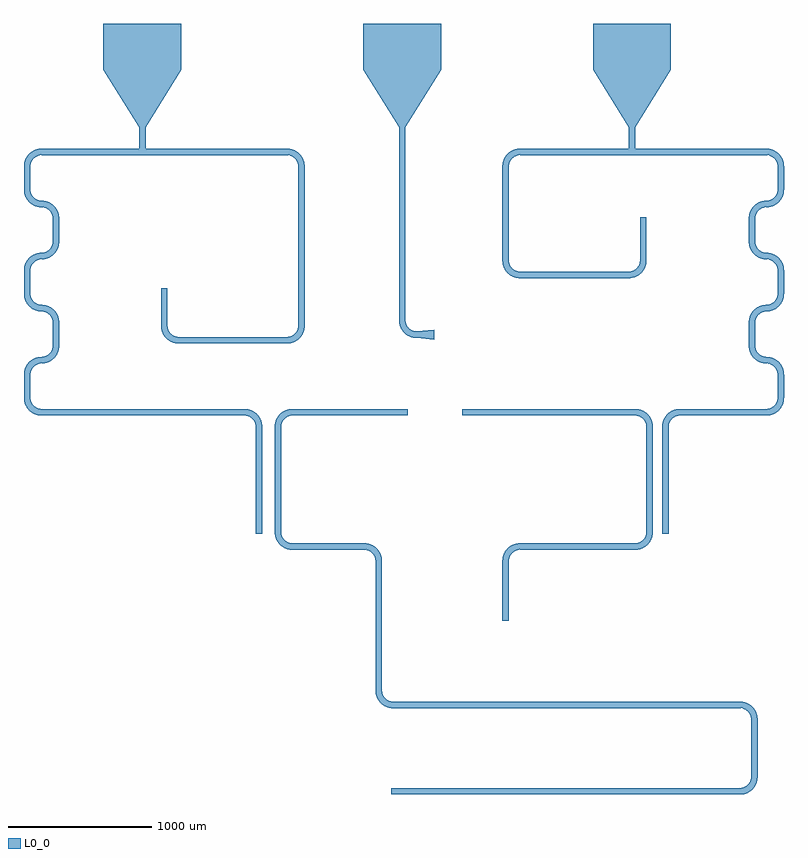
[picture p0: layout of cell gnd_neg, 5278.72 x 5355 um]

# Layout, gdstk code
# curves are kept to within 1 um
import gdstk
lib = gdstk.Library(unit=1e-6, precision=1e-09)
def R(c, l, rs):  # rectangles x0, y0, x1, y1
    for r in rs: c.add(gdstk.rectangle(r[:2], r[2:], *l))
def A(c, l, x, y, w, h, nx, ny, dx, dy):  # array of equal rectangles
    R(c, l, [(x+i*dx, y+j*dy, x+i*dx+w, y+j*dy+h) for i in range(nx) for j in range(ny)])
def P(c, l, *ps):  # polygons
    for p in ps: c.add(gdstk.Polygon(p, *l))
L0_0 = (0, 0)

gnd_neg = lib.new_cell('gnd_neg')
A(gnd_neg, L0_0, 872.888, 3600, 44, 161.6, 1, 3, 0, 723.2)
A(gnd_neg, L0_0, 6107.612, 3600, 44, 161.6, 1, 3, 0, 723.2)
R(gnd_neg, L0_0, [(3424.9,845,3436.9,889), (3436.9,845,5845.811,889), (5923.811,967,5967.811,1367), (3436.9,1445,5845.811,1489), (3314.9,1567,3358.9,2467), (4196.1,2051.239,4240.1,2467), (2736.9,2545,3236.9,2589), (4318.1,2545,5118.1,2589), (2482.9,2655,2526.9,3400), (5306.1,2655,5350.1,3400), (2614.9,2667,2658.9,3400), (5196.1,2667,5240.1,3400), (994.888,3478,2404.9,3522), (2736.9,3478,3539.9,3522), (3915.1,3478,5118.1,3522), (5428.1,3478,6029.612,3522), (1072.888,3961.6,1116.888,4123.2), (5907.612,3961.6,5951.612,4123.2), (1947.444,3978,2700,4022), (1825.444,4100,1869.444,4349.205), (2778,4100,2822,5208), (3478,4138.8,3522,5480), (1825.444,4349.205,1869.444,4361.205), (4318.1,4432,5073.856,4476), (4196.1,4554,4240.1,5208), (5151.856,4554,5195.856,4841.105), (1072.888,4684.8,1116.888,4846.4), (5907.612,4684.8,5951.612,4846.4), (5151.856,4841.105,5195.856,4853.105), (994.888,5286,1695,5330), (1695,5286,2700,5330), (4318.1,5286,5095,5330), (5095,5286,6029.612,5330), (1673,5308,1717,5480), (5073,5308,5117,5480), (1425,5880,1965,6200), (3230,5880,3770,6200), (4825,5880,5365,6200)])
P(gnd_neg, L0_0, [(3478,5480),(3230,5880),(3770,5880),(3522,5480)],
  [(3600,4016.8),(3578.128,4018.777),(3554.039,4025.788),(3531.894,4037.579),(3514.851,4051.429),(3498.779,4070.694),(3486.988,4092.839),(3479.977,4116.928),(3478,4138.8),(3522,4138.8),(3523.649,4122.845),(3527.747,4109.415),(3535.285,4095.257),(3544.14,4084.36),(3556.457,4074.085),(3568.765,4067.327),(3584.045,4062.449),(3600,4060.8)],
  [(3724,4004.8),(3600,4016.8),(3600,4060.8),(3724,4072.8)],
  [(2614.9,3400),(2616.877,3421.872),(2623.888,3445.961),(2635.679,3468.106),(2649.529,3485.149),(2668.794,3501.221),(2690.939,3513.012),(2715.028,3520.023),(2736.9,3522),(2736.9,3478),(2720.945,3476.351),(2707.515,3472.253),(2693.357,3464.715),(2682.46,3455.86),(2672.185,3443.543),(2665.427,3431.235),(2660.549,3415.955),(2658.9,3400)],
  [(2736.9,2545),(2715.028,2546.977),(2690.939,2553.988),(2668.794,2565.779),(2651.751,2579.629),(2635.679,2598.894),(2623.888,2621.039),(2616.877,2645.128),(2614.9,2667),(2658.9,2667),(2660.549,2651.045),(2664.647,2637.615),(2672.185,2623.457),(2681.04,2612.56),(2693.357,2602.285),(2705.665,2595.527),(2720.945,2590.649),(2736.9,2589)],
  [(3314.9,2467),(3313.251,2482.955),(3309.153,2496.385),(3301.615,2510.543),(3292.76,2521.44),(3280.443,2531.715),(3268.135,2538.473),(3252.855,2543.351),(3236.9,2545),(3236.9,2589),(3252.565,2587.99),(3267.97,2584.977),(3282.861,2580.012),(3296.991,2573.175),(3310.126,2564.58),(3322.049,2554.371),(3339.841,2532.477),(3347.396,2518.718),(3354.038,2501.097),(3357.447,2485.775),(3358.9,2467)],
  [(3436.9,1445),(3415.028,1446.977),(3390.939,1453.988),(3368.794,1465.779),(3351.751,1479.629),(3335.679,1498.894),(3323.888,1521.039),(3316.877,1545.128),(3314.9,1567),(3358.9,1567),(3360.549,1551.045),(3364.647,1537.615),(3372.185,1523.457),(3381.04,1512.56),(3393.357,1502.285),(3405.665,1495.527),(3420.945,1490.649),(3436.9,1489)],
  [(5923.811,1367),(5922.162,1382.955),(5918.064,1396.385),(5911.626,1408.862),(5901.671,1421.44),(5889.354,1431.715),(5877.047,1438.473),(5861.766,1443.351),(5845.811,1445),(5845.811,1489),(5861.476,1487.99),(5876.881,1484.977),(5891.772,1480.012),(5905.902,1473.175),(5919.037,1464.58),(5930.96,1454.371),(5948.752,1432.477),(5956.307,1418.718),(5962.949,1401.097),(5966.358,1385.775),(5967.811,1367)],
  [(5845.811,845),(5845.811,889),(5861.766,890.649),(5875.196,894.747),(5889.354,902.285),(5900.251,911.14),(5910.526,923.457),(5917.284,935.765),(5922.162,951.045),(5923.811,967),(5967.811,967),(5965.834,945.128),(5958.823,921.039),(5947.032,898.894),(5933.182,881.851),(5913.917,865.779),(5891.772,853.988),(5867.683,846.977)],
  [(1673,5480),(1425,5880),(1965,5880),(1717,5480)],
  [(2482.9,3400),(2481.251,3415.955),(2477.153,3429.385),(2469.615,3443.543),(2460.76,3454.44),(2448.443,3464.715),(2436.135,3471.473),(2420.855,3476.351),(2404.9,3478),(2404.9,3522),(2420.565,3520.99),(2435.97,3517.977),(2450.861,3513.012),(2464.991,3506.175),(2478.126,3497.58),(2490.049,3487.371),(2507.841,3465.477),(2515.396,3451.718),(2522.038,3434.097),(2525.447,3418.775),(2526.9,3400)],
  [(994.888,3478),(973.016,3479.977),(948.927,3486.988),(926.782,3498.779),(909.739,3512.629),(893.667,3531.894),(881.876,3554.039),(874.865,3578.128),(872.888,3600),(916.888,3600),(918.537,3584.045),(922.635,3570.615),(929.073,3558.138),(939.028,3545.56),(951.345,3535.285),(963.653,3528.527),(978.933,3523.649),(994.888,3522)],
  [(872.888,3761.6),(874.865,3783.472),(881.876,3807.561),(893.667,3829.706),(907.517,3846.749),(926.782,3862.821),(948.927,3874.612),(973.016,3881.623),(994.888,3883.6),(994.888,3839.6),(978.933,3837.951),(965.503,3833.853),(951.345,3826.315),(940.448,3817.46),(930.173,3805.143),(923.415,3792.835),(918.537,3777.555),(916.888,3761.6)],
  [(994.888,3839.6),(994.888,3883.6),(1010.843,3885.249),(1024.273,3889.347),(1038.431,3896.885),(1049.328,3905.74),(1059.603,3918.057),(1066.361,3930.365),(1071.239,3945.645),(1072.888,3961.6),(1116.888,3961.6),(1114.911,3939.728),(1107.9,3915.639),(1096.109,3893.494),(1082.259,3876.451),(1062.994,3860.379),(1040.849,3848.588),(1016.76,3841.577)],
  [(1072.888,4123.2),(1071.239,4139.155),(1067.141,4152.585),(1059.603,4166.743),(1050.748,4177.64),(1038.431,4187.915),(1026.123,4194.673),(1010.843,4199.551),(994.888,4201.2),(994.888,4245.2),(1010.553,4244.19),(1025.958,4241.177),(1040.849,4236.212),(1054.979,4229.375),(1068.114,4220.78),(1080.037,4210.571),(1097.829,4188.677),(1105.384,4174.918),(1112.026,4157.297),(1115.435,4141.975),(1116.888,4123.2)],
  [(994.888,4201.2),(973.016,4203.177),(948.927,4210.188),(926.782,4221.979),(909.739,4235.829),(893.667,4255.094),(881.876,4277.239),(874.865,4301.328),(872.888,4323.2),(916.888,4323.2),(918.537,4307.245),(922.635,4293.815),(929.073,4281.338),(939.028,4268.76),(951.345,4258.485),(963.653,4251.727),(978.933,4246.849),(994.888,4245.2)],
  [(872.888,4484.8),(874.865,4506.672),(881.876,4530.761),(893.667,4552.906),(907.517,4569.949),(926.782,4586.021),(948.927,4597.812),(973.016,4604.823),(994.888,4606.8),(994.888,4562.8),(978.933,4561.151),(965.503,4557.053),(951.345,4549.515),(940.448,4540.66),(930.173,4528.343),(923.415,4516.035),(918.537,4500.755),(916.888,4484.8)],
  [(994.888,4562.8),(994.888,4606.8),(1010.843,4608.449),(1024.273,4612.547),(1038.431,4620.085),(1049.328,4628.94),(1059.603,4641.257),(1066.361,4653.565),(1071.239,4668.845),(1072.888,4684.8),(1116.888,4684.8),(1114.911,4662.928),(1107.9,4638.839),(1096.109,4616.694),(1082.259,4599.651),(1062.994,4583.579),(1040.849,4571.788),(1016.76,4564.777)],
  [(1072.888,4846.4),(1071.239,4862.355),(1067.141,4875.785),(1059.603,4889.943),(1050.748,4900.84),(1038.431,4911.115),(1026.123,4917.873),(1010.843,4922.751),(994.888,4924.4),(994.888,4968.4),(1010.553,4967.39),(1025.958,4964.377),(1040.849,4959.412),(1054.979,4952.575),(1068.114,4943.98),(1080.037,4933.771),(1097.829,4911.877),(1105.384,4898.118),(1112.026,4880.497),(1115.435,4865.175),(1116.888,4846.4)],
  [(994.888,4924.4),(973.016,4926.377),(948.927,4933.388),(926.782,4945.179),(909.739,4959.029),(893.667,4978.294),(881.876,5000.439),(874.865,5024.528),(872.888,5046.4),(916.888,5046.4),(918.537,5030.445),(922.635,5017.015),(929.073,5004.538),(939.028,4991.96),(951.345,4981.685),(963.653,4974.927),(978.933,4970.049),(994.888,4968.4)],
  [(872.888,5208),(874.865,5229.872),(881.876,5253.961),(893.667,5276.106),(907.517,5293.149),(926.782,5309.221),(948.927,5321.012),(973.016,5328.023),(994.888,5330),(994.888,5286),(978.933,5284.351),(965.503,5280.253),(951.345,5272.715),(940.448,5263.86),(930.173,5251.543),(923.415,5239.235),(918.537,5223.955),(916.888,5208)],
  [(2778,5208),(2776.351,5223.955),(2772.253,5237.385),(2764.715,5251.543),(2755.86,5262.44),(2743.543,5272.715),(2731.235,5279.473),(2715.955,5284.351),(2700,5286),(2700,5330),(2715.665,5328.99),(2731.07,5325.977),(2745.961,5321.012),(2760.091,5314.175),(2773.226,5305.58),(2785.149,5295.371),(2802.941,5273.477),(2810.496,5259.718),(2817.138,5242.097),(2820.547,5226.775),(2822,5208)],
  [(2700,3978),(2700,4022),(2715.955,4023.649),(2729.385,4027.747),(2743.543,4035.285),(2754.44,4044.14),(2764.715,4056.457),(2771.473,4068.765),(2776.351,4084.045),(2778,4100),(2822,4100),(2820.023,4078.128),(2813.012,4054.039),(2801.221,4031.894),(2787.371,4014.851),(2768.106,3998.779),(2745.961,3986.988),(2721.872,3979.977)],
  [(1947.444,3978),(1925.572,3979.977),(1901.483,3986.988),(1879.338,3998.779),(1862.295,4012.629),(1846.223,4031.894),(1834.432,4054.039),(1827.421,4078.128),(1825.444,4100),(1869.444,4100),(1871.093,4084.045),(1875.191,4070.615),(1881.629,4058.138),(1891.584,4045.56),(1903.901,4035.285),(1916.209,4028.527),(1931.489,4023.649),(1947.444,4022)],
  [(5196.1,3400),(5194.451,3415.955),(5190.353,3429.385),(5182.815,3443.543),(5173.96,3454.44),(5161.643,3464.715),(5149.335,3471.473),(5134.055,3476.351),(5118.1,3478),(5118.1,3522),(5133.765,3520.99),(5149.17,3517.977),(5164.061,3513.012),(5178.191,3506.175),(5191.326,3497.58),(5203.249,3487.371),(5221.041,3465.477),(5228.596,3451.718),(5235.238,3434.097),(5238.647,3418.775),(5240.1,3400)],
  [(5118.1,2545),(5118.1,2589),(5134.055,2590.649),(5147.485,2594.747),(5161.643,2602.285),(5172.54,2611.14),(5182.815,2623.457),(5189.573,2635.765),(5194.451,2651.045),(5196.1,2667),(5240.1,2667),(5238.123,2645.128),(5231.112,2621.039),(5219.321,2598.894),(5205.471,2581.851),(5186.206,2565.779),(5164.061,2553.988),(5139.972,2546.977)],
  [(4196.1,2467),(4198.077,2488.872),(4205.088,2512.961),(4216.879,2535.106),(4230.729,2552.149),(4249.994,2568.221),(4272.139,2580.012),(4296.228,2587.023),(4318.1,2589),(4318.1,2545),(4302.145,2543.351),(4288.715,2539.253),(4274.557,2531.715),(4263.66,2522.86),(4253.385,2510.543),(4246.627,2498.235),(4241.749,2482.955),(4240.1,2467)],
  [(5073,5480),(4825,5880),(5365,5880),(5117,5480)],
  [(5306.1,3400),(5308.077,3421.872),(5315.088,3445.961),(5326.879,3468.106),(5340.729,3485.149),(5359.994,3501.221),(5382.139,3513.012),(5406.228,3520.023),(5428.1,3522),(5428.1,3478),(5412.145,3476.351),(5398.715,3472.253),(5384.557,3464.715),(5373.66,3455.86),(5363.385,3443.543),(5356.627,3431.235),(5351.749,3415.955),(5350.1,3400)],
  [(6029.612,3478),(6029.612,3522),(6045.567,3523.649),(6058.997,3527.747),(6073.155,3535.285),(6084.052,3544.14),(6094.327,3556.457),(6101.085,3568.765),(6105.963,3584.045),(6107.612,3600),(6151.612,3600),(6149.635,3578.128),(6142.624,3554.039),(6130.833,3531.894),(6116.983,3514.851),(6097.718,3498.779),(6075.573,3486.988),(6051.484,3479.977)],
  [(6107.612,3761.6),(6105.963,3777.555),(6101.865,3790.985),(6095.427,3803.462),(6085.472,3816.04),(6073.155,3826.315),(6060.847,3833.073),(6045.567,3837.951),(6029.612,3839.6),(6029.612,3883.6),(6045.277,3882.59),(6060.682,3879.577),(6075.573,3874.612),(6089.703,3867.775),(6102.838,3859.18),(6114.761,3848.971),(6132.553,3827.077),(6140.108,3813.318),(6146.75,3795.697),(6150.159,3780.375),(6151.612,3761.6)],
  [(6029.612,3839.6),(6007.74,3841.577),(5983.651,3848.588),(5961.506,3860.379),(5944.463,3874.229),(5928.391,3893.494),(5916.6,3915.639),(5909.589,3939.728),(5907.612,3961.6),(5951.612,3961.6),(5953.261,3945.645),(5957.359,3932.215),(5964.897,3918.057),(5973.752,3907.16),(5986.069,3896.885),(5998.377,3890.127),(6013.657,3885.249),(6029.612,3883.6)],
  [(5907.612,4123.2),(5909.589,4145.072),(5916.6,4169.161),(5928.391,4191.306),(5942.241,4208.349),(5961.506,4224.421),(5983.651,4236.212),(6007.74,4243.223),(6029.612,4245.2),(6029.612,4201.2),(6013.657,4199.551),(6000.227,4195.453),(5986.069,4187.915),(5975.172,4179.06),(5964.897,4166.743),(5958.139,4154.435),(5953.261,4139.155),(5951.612,4123.2)],
  [(6029.612,4201.2),(6029.612,4245.2),(6045.567,4246.849),(6058.997,4250.947),(6073.155,4258.485),(6084.052,4267.34),(6094.327,4279.657),(6101.085,4291.965),(6105.963,4307.245),(6107.612,4323.2),(6151.612,4323.2),(6149.635,4301.328),(6142.624,4277.239),(6130.833,4255.094),(6116.983,4238.051),(6097.718,4221.979),(6075.573,4210.188),(6051.484,4203.177)],
  [(6107.612,4484.8),(6105.963,4500.755),(6101.865,4514.185),(6095.427,4526.662),(6085.472,4539.24),(6073.155,4549.515),(6060.847,4556.273),(6045.567,4561.151),(6029.612,4562.8),(6029.612,4606.8),(6045.277,4605.79),(6060.682,4602.777),(6075.573,4597.812),(6089.703,4590.975),(6102.838,4582.38),(6114.761,4572.171),(6132.553,4550.277),(6140.108,4536.518),(6146.75,4518.897),(6150.159,4503.575),(6151.612,4484.8)],
  [(6029.612,4562.8),(6007.74,4564.777),(5983.651,4571.788),(5961.506,4583.579),(5944.463,4597.429),(5928.391,4616.694),(5916.6,4638.839),(5909.589,4662.928),(5907.612,4684.8),(5951.612,4684.8),(5953.261,4668.845),(5957.359,4655.415),(5964.897,4641.257),(5973.752,4630.36),(5986.069,4620.085),(5998.377,4613.327),(6013.657,4608.449),(6029.612,4606.8)],
  [(5907.612,4846.4),(5909.589,4868.272),(5916.6,4892.361),(5928.391,4914.506),(5942.241,4931.549),(5961.506,4947.621),(5983.651,4959.412),(6007.74,4966.423),(6029.612,4968.4),(6029.612,4924.4),(6013.657,4922.751),(6000.227,4918.653),(5986.069,4911.115),(5975.172,4902.26),(5964.897,4889.943),(5958.139,4877.635),(5953.261,4862.355),(5951.612,4846.4)],
  [(6029.612,4924.4),(6029.612,4968.4),(6045.567,4970.049),(6058.997,4974.147),(6073.155,4981.685),(6084.052,4990.54),(6094.327,5002.857),(6101.085,5015.165),(6105.963,5030.445),(6107.612,5046.4),(6151.612,5046.4),(6149.635,5024.528),(6142.624,5000.439),(6130.833,4978.294),(6116.983,4961.251),(6097.718,4945.179),(6075.573,4933.388),(6051.484,4926.377)],
  [(6107.612,5208),(6105.963,5223.955),(6101.865,5237.385),(6095.427,5249.862),(6085.472,5262.44),(6073.155,5272.715),(6060.847,5279.473),(6045.567,5284.351),(6029.612,5286),(6029.612,5330),(6045.277,5328.99),(6060.682,5325.977),(6075.573,5321.012),(6089.703,5314.175),(6102.838,5305.58),(6114.761,5295.371),(6132.553,5273.477),(6140.108,5259.718),(6146.75,5242.097),(6150.159,5226.775),(6151.612,5208)],
  [(4196.1,5208),(4198.077,5229.872),(4205.088,5253.961),(4216.879,5276.106),(4230.729,5293.149),(4249.994,5309.221),(4272.139,5321.012),(4296.228,5328.023),(4318.1,5330),(4318.1,5286),(4302.145,5284.351),(4288.715,5280.253),(4274.557,5272.715),(4263.66,5263.86),(4253.385,5251.543),(4246.627,5239.235),(4241.749,5223.955),(4240.1,5208)],
  [(4318.1,4432),(4296.228,4433.977),(4272.139,4440.988),(4249.994,4452.779),(4232.951,4466.629),(4216.879,4485.894),(4205.088,4508.039),(4198.077,4532.128),(4196.1,4554),(4240.1,4554),(4241.749,4538.045),(4245.847,4524.615),(4253.385,4510.457),(4262.24,4499.56),(4274.557,4489.285),(4286.865,4482.527),(4302.145,4477.649),(4318.1,4476)],
  [(5073.856,4432),(5073.856,4476),(5089.811,4477.649),(5103.241,4481.747),(5117.399,4489.285),(5128.296,4498.14),(5138.571,4510.457),(5145.329,4522.765),(5150.207,4538.045),(5151.856,4554),(5195.856,4554),(5193.879,4532.128),(5186.868,4508.039),(5175.077,4485.894),(5161.227,4468.851),(5141.962,4452.779),(5119.817,4440.988),(5095.728,4433.977)],
  [(2700,5286),(2700,5330),(2700,5330),(2700,5286)])

lib.write_gds('gnd_neg.gds')
